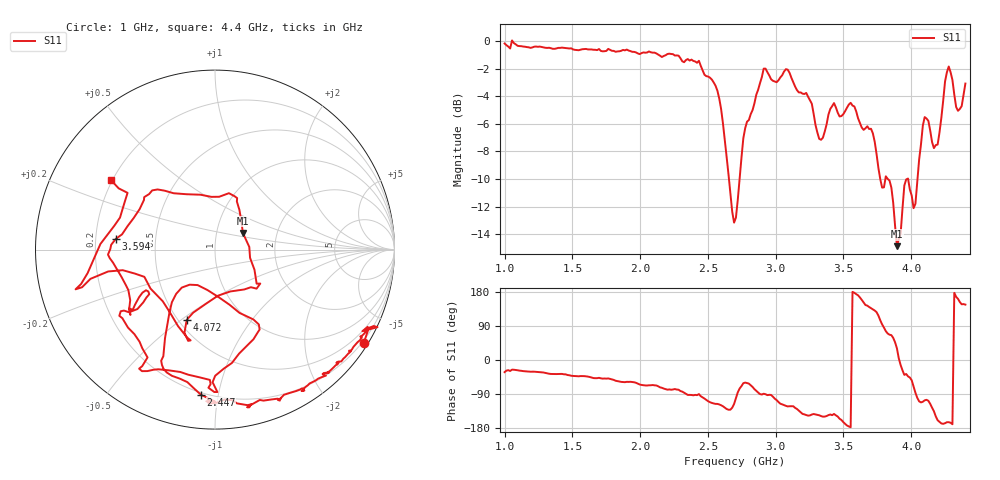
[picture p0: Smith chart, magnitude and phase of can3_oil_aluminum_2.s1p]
# MHz S MA R 50
!  freq  S11
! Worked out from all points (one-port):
!   250 points, 1 GHz to 4.4 GHz, reference 50 ohm
!   lowest |S11| = -14.9 dB at 3.895 GHz (marker M1), VSWR 1.44, Z = 67 + j12.9 ohm
!   |S11| at or under -10 dB: 2.655 GHz to 2.734 GHz (78.29 MHz wide, 2.91 % of centre); 3.828 GHz to 3.968 GHz (139.6 MHz wide, 3.58 % of centre); 3.977 GHz to 4.047 GHz (69.47 MHz wide, 1.73 % of centre)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
!   S11 on the Smith chart (normalised r, x): 1 GHz: 0.14, -3.48; 2.447 GHz: 0.19, -0.89; 3.594 GHz: 0.29, +0.05; 4.072 GHz: 0.55, -0.52; 4.4 GHz: 0.19, +0.29
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1000  0.9783 -32.0
1436.948  0.9431 -37.7
1860.241  0.9206 -57.8
2283.534  0.8844 -78.4
2447.39  0.8121 -95.6
2556.627  0.6879 -115.8
2652.209  0.3282 -131.3
2706.827  0.2294 -100.4
2788.755  0.5102 -60.8
2911.647  0.7937 -89.0
3075.502  0.79 -121.0
3130.12  0.7087 -122.0
3225.703  0.6483 -145.3
3334.94  0.4388 -147.9
3430.522  0.5956 -142.3
3553.414  0.5969 -177.3
3594.378  0.5558 173.8
3717.269  0.4629 133.6
3812.851  0.3237 76.1
3894.779  0.1809 30.9
3976.707  0.3177 -43.2
4031.325  0.2575 -86.4
4072.289  0.4222 -111.9
4126.908  0.5134 -107.7
4195.181  0.4217 -158.9
4277.108  0.8078 -164.1
4359.036  0.5674 152.9
4400  0.7008 146.2
